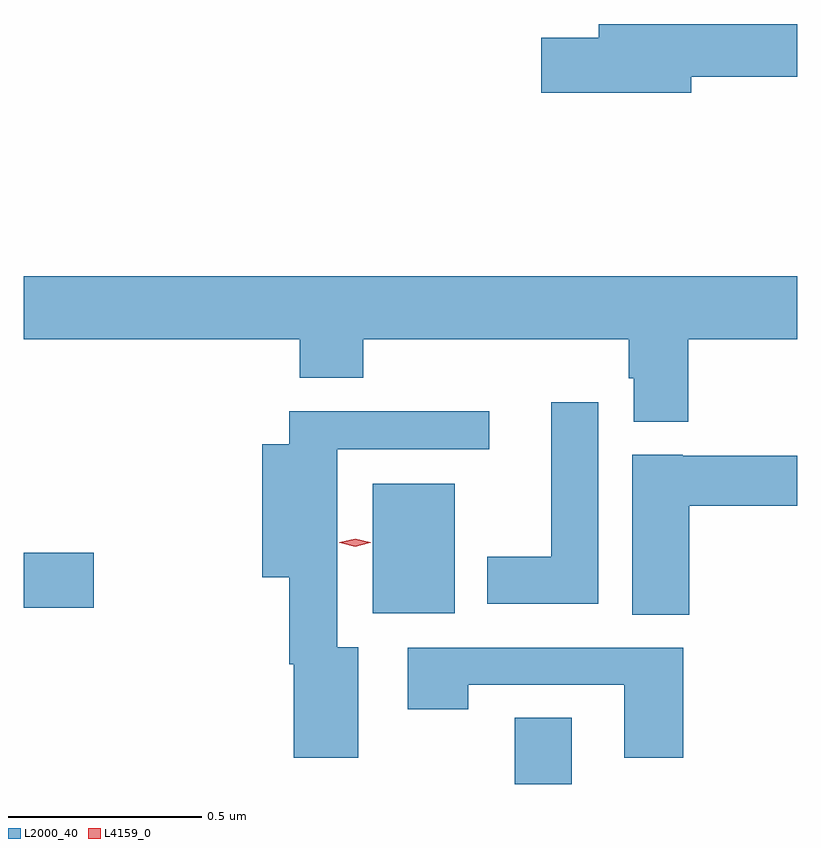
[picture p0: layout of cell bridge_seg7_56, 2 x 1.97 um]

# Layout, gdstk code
import gdstk
lib = gdstk.Library(unit=1e-6, precision=1e-09)
def R(c, l, rs):  # rectangles x0, y0, x1, y1
    for r in rs: c.add(gdstk.rectangle(r[:2], r[2:], *l))
def P(c, l, *ps):  # polygons
    for p in ps: c.add(gdstk.Polygon(p, *l))
L2000_40 = (2000, 40)
L4159_0 = (4159, 0)

bridge_seg7_56 = lib.new_cell('bridge_seg7_56')
R(bridge_seg7_56, L2000_40, [(954.7,1014.118,954.847,1014.29), (954.332,1014.56,954.544,1014.895), (953.43,1014.574,953.611,1014.716)])
P(bridge_seg7_56, L2000_40, [(955.156,1015.948),(955.43,1015.948),(955.43,1016.084),(954.917,1016.084),(954.917,1016.048),(954.768,1016.048),(954.768,1015.906),(955.156,1015.906)],
  [(955.148,1015.268),(955.43,1015.268),(955.43,1015.432),(953.43,1015.432),(953.43,1015.268),(954.143,1015.268),(954.143,1015.169),(954.308,1015.169),(954.308,1015.268),(954.995,1015.268),(954.995,1015.167),(955.007,1015.167),(955.007,1015.055),(955.148,1015.055)],
  [(954.916,1015.105),(954.794,1015.105),(954.794,1014.706),(954.629,1014.706),(954.629,1014.584),(954.916,1014.584)],
  [(954.295,1014.472),(954.241,1014.472),(954.241,1014.984),(954.634,1014.984),(954.634,1015.082),(954.116,1015.082),(954.116,1014.997),(954.047,1014.997),(954.047,1014.653),(954.116,1014.653),(954.116,1014.428),(954.128,1014.428),(954.128,1014.186),(954.295,1014.186)],
  [(955.151,1014.838),(955.43,1014.838),(955.43,1014.967),(955.134,1014.967),(955.134,1014.97),(955.004,1014.97),(955.004,1014.556),(955.151,1014.556)],
  [(955.136,1014.471),(954.423,1014.471),(954.423,1014.312),(954.579,1014.312),(954.579,1014.375),(954.983,1014.375),(954.983,1014.186),(955.136,1014.186)])
P(bridge_seg7_56, L4159_0, [(954.287,1014.732),(954.247,1014.742),(954.246,1014.742),(954.247,1014.743),(954.287,1014.752),(954.326,1014.743),(954.327,1014.742),(954.326,1014.742)])

lib.write_gds('bridge_seg7_56.gds')
